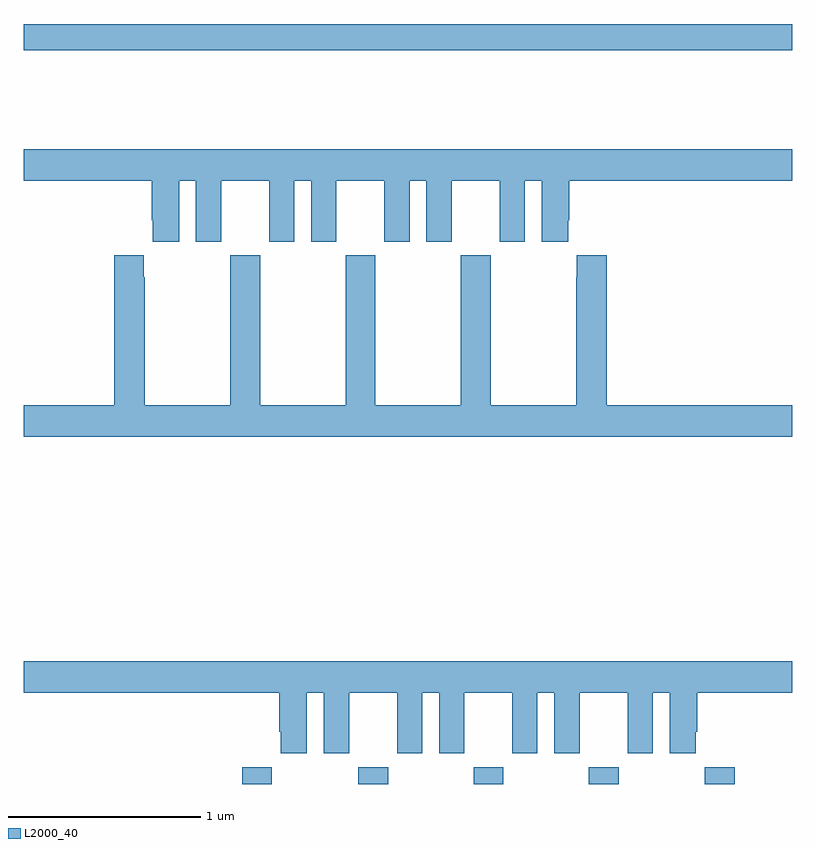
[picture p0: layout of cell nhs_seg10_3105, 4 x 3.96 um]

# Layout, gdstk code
import gdstk
lib = gdstk.Library(unit=1e-6, precision=1e-09)
def R(c, l, rs):  # rectangles x0, y0, x1, y1
    for r in rs: c.add(gdstk.rectangle(r[:2], r[2:], *l))
def A(c, l, x, y, w, h, nx, ny, dx, dy):  # array of equal rectangles
    R(c, l, [(x+i*dx, y+j*dy, x+i*dx+w, y+j*dy+h) for i in range(nx) for j in range(ny)])
def P(c, l, *ps):  # polygons
    for p in ps: c.add(gdstk.Polygon(p, *l))
L2000_40 = (2000, 40)

nhs_seg10_3105 = lib.new_cell('nhs_seg10_3105')
A(nhs_seg10_3105, L2000_40, 280.741, 1306.5, 0.155, 0.088, 3, 1, 0.6, 0)
R(nhs_seg10_3105, L2000_40, [(280.136,1306.5,280.291,1306.588), (282.545,1306.5,282.701,1306.588), (279,1310.32,283,1310.456)])
P(nhs_seg10_3105, L2000_40, [(279.808,1309.64),(279.896,1309.64),(279.896,1309.323),(280.027,1309.323),(280.027,1309.64),(280.277,1309.64),(280.277,1309.323),(280.408,1309.323),(280.408,1309.64),(280.496,1309.64),(280.496,1309.323),(280.627,1309.323),(280.627,1309.64),(280.877,1309.64),(280.877,1309.323),(281.008,1309.323),(281.008,1309.64),(281.096,1309.64),(281.096,1309.323),(281.227,1309.323),(281.227,1309.64),(281.477,1309.64),(281.477,1309.323),(281.608,1309.323),(281.608,1309.64),(281.696,1309.64),(281.696,1309.323),(281.833,1309.323),(281.833,1309.435),(281.84,1309.435),(281.84,1309.64),(283,1309.64),(283,1309.804),(279,1309.804),(279,1309.64),(279.665,1309.64),(279.665,1309.435),(279.671,1309.435),(279.671,1309.323),(279.808,1309.323)],
  [(280.675,1309.252),(280.675,1308.472),(280.23,1308.472),(280.23,1309.252),(280.075,1309.252),(280.075,1308.472),(279.63,1308.472),(279.63,1309.139),(279.625,1309.139),(279.625,1309.252),(279.47,1309.252),(279.47,1308.472),(279,1308.472),(279,1308.308),(283,1308.308),(283,1308.472),(282.035,1308.472),(282.035,1309.252),(281.879,1309.252),(281.879,1309.139),(281.875,1309.139),(281.875,1308.472),(281.43,1308.472),(281.43,1309.252),(281.275,1309.252),(281.275,1308.472),(280.83,1308.472),(280.83,1309.252)],
  [(280.474,1306.976),(280.562,1306.976),(280.562,1306.659),(280.693,1306.659),(280.693,1306.976),(280.943,1306.976),(280.943,1306.659),(281.074,1306.659),(281.074,1306.976),(281.162,1306.976),(281.162,1306.659),(281.293,1306.659),(281.293,1306.976),(281.543,1306.976),(281.543,1306.659),(281.674,1306.659),(281.674,1306.976),(281.762,1306.976),(281.762,1306.659),(281.893,1306.659),(281.893,1306.976),(282.143,1306.976),(282.143,1306.659),(282.274,1306.659),(282.274,1306.976),(282.362,1306.976),(282.362,1306.659),(282.499,1306.659),(282.499,1306.771),(282.506,1306.771),(282.506,1306.976),(283,1306.976),(283,1307.14),(279,1307.14),(279,1306.976),(280.331,1306.976),(280.331,1306.771),(280.337,1306.771),(280.337,1306.659),(280.474,1306.659)])

lib.write_gds('nhs_seg10_3105.gds')
